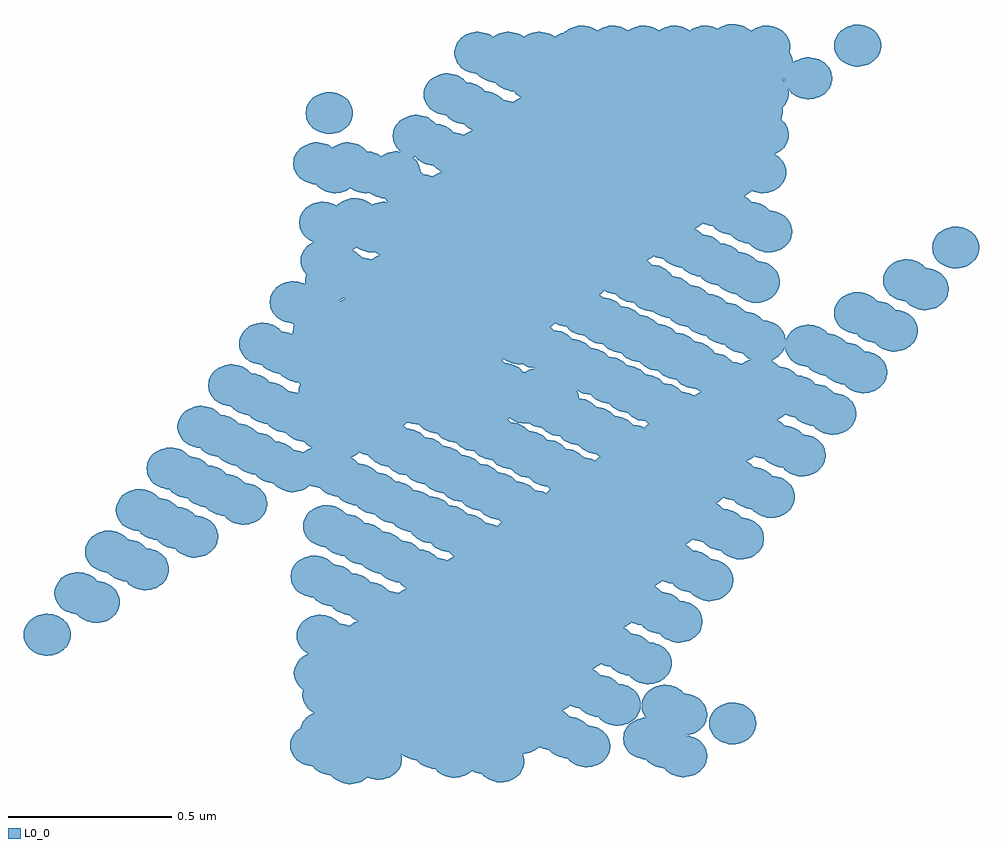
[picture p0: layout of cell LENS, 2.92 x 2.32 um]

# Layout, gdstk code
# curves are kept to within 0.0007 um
import gdstk
lib = gdstk.Library(unit=1e-6, precision=1e-09)
def P(c, l, *ps):  # polygons
    for p in ps: c.add(gdstk.Polygon(p, *l))
L0_0 = (0, 0)

oval = lib.new_cell('OVAL')
P(oval, L0_0, [(0.072,0),(0.072,0.007),(0.069,0.019),(0.066,0.026),(0.059,0.037),(0.049,0.047),(0.031,0.058),(0.017,0.062),(0.002,0.064),(-0.013,0.063),(-0.027,0.059),(-0.04,0.053),(-0.052,0.045),(-0.061,0.034),(-0.067,0.023),(-0.07,0.016),(-0.072,0.003),(-0.07,-0.016),(-0.061,-0.034),(-0.052,-0.045),(-0.04,-0.053),(-0.027,-0.059),(-0.006,-0.064),(0.017,-0.062),(0.031,-0.058),(0.049,-0.047),(0.059,-0.037),(0.066,-0.026),(0.069,-0.019),(0.072,-0.007)])

circle = lib.new_cell('CIRCLE')
P(circle, L0_0, [(0.072,0),(0.068,0.022),(0.058,0.042),(0.042,0.058),(0.022,0.068),(0,0.072),(-0.022,0.068),(-0.042,0.058),(-0.058,0.042),(-0.068,0.022),(-0.072,0),(-0.068,-0.022),(-0.058,-0.042),(-0.042,-0.058),(-0.022,-0.068),(0,-0.072),(0.022,-0.068),(0.042,-0.058),(0.058,-0.042),(0.068,-0.022)])

lens = lib.new_cell('LENS')
lens.add(gdstk.Reference(oval, (-1.51,-0.705)))
lens.add(gdstk.Reference(oval, (-1.416,-0.578)))
lens.add(gdstk.Reference(oval, (-1.322,-0.451)))
lens.add(gdstk.Reference(oval, (-1.228,-0.324)))
lens.add(gdstk.Reference(oval, (-1.134,-0.197)))
lens.add(gdstk.Reference(oval, (-1.04,-0.07)))
lens.add(gdstk.Reference(oval, (-0.946,0.057)))
lens.add(gdstk.Reference(oval, (-0.852,0.184)))
lens.add(gdstk.Reference(oval, (-0.758,0.311)))
lens.add(gdstk.Reference(oval, (-0.664,0.438)))
lens.add(gdstk.Reference(oval, (-0.57,0.565)))
lens.add(gdstk.Reference(oval, (-0.476,0.692)))
lens.add(gdstk.Reference(oval, (-0.382,0.819)))
lens.add(gdstk.Reference(oval, (-0.288,0.946)))
lens.add(gdstk.Reference(oval, (-0.194,1.073)))
lens.add(gdstk.Reference(oval, (-0.1,1.073)))
lens.add(gdstk.Reference(oval, (-0.006,1.073)))
lens.add(gdstk.Reference(oval, (0.088,1.073)))
lens.add(gdstk.Reference(oval, (0.182,1.073)))
lens.add(gdstk.Reference(oval, (0.276,1.073)))
lens.add(gdstk.Reference(oval, (0.37,1.073)))
lens.add(gdstk.Reference(oval, (0.464,1.073)))
lens.add(gdstk.Reference(oval, (0.558,1.073)))
lens.add(gdstk.Reference(oval, (0.652,1.073)))
lens.add(gdstk.Reference(oval, (-0.654,0.143)))
lens.add(gdstk.Reference(oval, (-0.56,0.27)))
lens.add(gdstk.Reference(oval, (-0.466,0.397)))
lens.add(gdstk.Reference(oval, (-0.372,0.524)))
lens.add(gdstk.Reference(oval, (-0.278,0.651)))
lens.add(gdstk.Reference(oval, (-0.184,0.778)))
lens.add(gdstk.Reference(oval, (-1.36,-0.605)))
lens.add(gdstk.Reference(oval, (-1.266,-0.478)))
lens.add(gdstk.Reference(oval, (-1.172,-0.351)))
lens.add(gdstk.Reference(oval, (-1.078,-0.224)))
lens.add(gdstk.Reference(oval, (-0.984,-0.097)))
lens.add(gdstk.Reference(oval, (-0.89,0.03)))
lens.add(gdstk.Reference(oval, (-0.796,0.157)))
lens.add(gdstk.Reference(oval, (-0.702,0.284)))
lens.add(gdstk.Reference(oval, (-0.608,0.411)))
lens.add(gdstk.Reference(oval, (-0.514,0.538)))
lens.add(gdstk.Reference(oval, (-0.42,0.665)))
lens.add(gdstk.Reference(oval, (-0.326,0.792)))
lens.add(gdstk.Reference(oval, (-0.232,0.919)))
lens.add(gdstk.Reference(oval, (-0.138,1.046)))
lens.add(gdstk.Reference(oval, (-0.044,1.046)))
lens.add(gdstk.Reference(oval, (0.05,1.046)))
lens.add(gdstk.Reference(oval, (0.144,1.046)))
lens.add(gdstk.Reference(oval, (0.238,1.046)))
lens.add(gdstk.Reference(oval, (0.332,1.046)))
lens.add(gdstk.Reference(oval, (0.426,1.046)))
lens.add(gdstk.Reference(oval, (0.52,1.046)))
lens.add(gdstk.Reference(oval, (0.614,1.046)))
lens.add(gdstk.Reference(oval, (-0.692,-0.011)))
lens.add(gdstk.Reference(oval, (-0.598,0.116)))
lens.add(gdstk.Reference(oval, (-0.504,0.243)))
lens.add(gdstk.Reference(oval, (-0.41,0.37)))
lens.add(gdstk.Reference(oval, (-0.316,0.497)))
lens.add(gdstk.Reference(oval, (-0.222,0.624)))
lens.add(gdstk.Reference(oval, (-0.128,0.751)))
lens.add(gdstk.Reference(oval, (-0.034,0.878)))
lens.add(gdstk.Reference(oval, (-1.21,-0.505)))
lens.add(gdstk.Reference(oval, (-1.116,-0.378)))
lens.add(gdstk.Reference(oval, (-1.022,-0.251)))
lens.add(gdstk.Reference(oval, (-0.928,-0.124)))
lens.add(gdstk.Reference(oval, (-0.834,0.003)))
lens.add(gdstk.Reference(oval, (-0.74,0.13)))
lens.add(gdstk.Reference(oval, (-0.646,0.257)))
lens.add(gdstk.Reference(oval, (-0.552,0.384)))
lens.add(gdstk.Reference(oval, (-0.458,0.511)))
lens.add(gdstk.Reference(oval, (-0.364,0.638)))
lens.add(gdstk.Reference(oval, (-0.27,0.765)))
lens.add(gdstk.Reference(oval, (-0.176,0.892)))
lens.add(gdstk.Reference(oval, (-0.082,1.019)))
lens.add(gdstk.Reference(oval, (0.012,1.019)))
lens.add(gdstk.Reference(oval, (0.106,1.019)))
lens.add(gdstk.Reference(oval, (0.2,1.019)))
lens.add(gdstk.Reference(oval, (0.294,1.019)))
lens.add(gdstk.Reference(oval, (0.388,1.019)))
lens.add(gdstk.Reference(oval, (0.482,1.019)))
lens.add(gdstk.Reference(oval, (0.576,1.019)))
lens.add(gdstk.Reference(oval, (0.67,1.019)))
lens.add(gdstk.Reference(oval, (-0.636,-0.038)))
lens.add(gdstk.Reference(oval, (-0.542,0.089)))
lens.add(gdstk.Reference(circle, (-0.448,0.216)))
lens.add(gdstk.Reference(circle, (-0.354,0.343)))
lens.add(gdstk.Reference(oval, (-0.26,0.47)))
lens.add(gdstk.Reference(oval, (-0.166,0.597)))
lens.add(gdstk.Reference(oval, (-0.072,0.724)))
lens.add(gdstk.Reference(oval, (0.022,0.851)))
lens.add(gdstk.Reference(oval, (0.116,0.978)))
lens.add(gdstk.Reference(oval, (-1.06,-0.405)))
lens.add(gdstk.Reference(oval, (-0.966,-0.278)))
lens.add(gdstk.Reference(oval, (-0.872,-0.151)))
lens.add(gdstk.Reference(oval, (-0.778,-0.024)))
lens.add(gdstk.Reference(oval, (-0.684,0.103)))
lens.add(gdstk.Reference(oval, (-0.59,0.23)))
lens.add(gdstk.Reference(oval, (-0.496,0.357)))
lens.add(gdstk.Reference(oval, (-0.402,0.484)))
lens.add(gdstk.Reference(oval, (-0.308,0.611)))
lens.add(gdstk.Reference(oval, (-0.214,0.738)))
lens.add(gdstk.Reference(oval, (-0.12,0.865)))
lens.add(gdstk.Reference(oval, (-0.026,0.992)))
lens.add(gdstk.Reference(oval, (0.068,0.992)))
lens.add(gdstk.Reference(oval, (0.162,0.992)))
lens.add(gdstk.Reference(oval, (0.256,0.992)))
lens.add(gdstk.Reference(oval, (0.35,0.992)))
lens.add(gdstk.Reference(oval, (0.444,0.992)))
lens.add(gdstk.Reference(oval, (0.538,0.992)))
lens.add(gdstk.Reference(oval, (0.632,0.992)))
lens.add(gdstk.Reference(oval, (-0.674,-0.192)))
lens.add(gdstk.Reference(oval, (-0.58,-0.065)))
lens.add(gdstk.Reference(circle, (-0.486,0.062)))
lens.add(gdstk.Reference(circle, (-0.392,0.189)))
lens.add(gdstk.Reference(circle, (-0.298,0.316)))
lens.add(gdstk.Reference(circle, (-0.204,0.443)))
lens.add(gdstk.Reference(oval, (-0.11,0.57)))
lens.add(gdstk.Reference(oval, (-0.016,0.697)))
lens.add(gdstk.Reference(oval, (0.078,0.824)))
lens.add(gdstk.Reference(oval, (0.172,0.951)))
lens.add(gdstk.Reference(oval, (0.266,1.078)))
lens.add(gdstk.Reference(oval, (-0.91,-0.305)))
lens.add(gdstk.Reference(oval, (-0.816,-0.178)))
lens.add(gdstk.Reference(oval, (-0.722,-0.051)))
lens.add(gdstk.Reference(oval, (-0.628,0.076)))
lens.add(gdstk.Reference(oval, (-0.534,0.203)))
lens.add(gdstk.Reference(oval, (-0.44,0.33)))
lens.add(gdstk.Reference(oval, (-0.346,0.457)))
lens.add(gdstk.Reference(oval, (-0.252,0.584)))
lens.add(gdstk.Reference(oval, (-0.158,0.711)))
lens.add(gdstk.Reference(oval, (-0.064,0.838)))
lens.add(gdstk.Reference(oval, (0.03,0.965)))
lens.add(gdstk.Reference(oval, (0.124,1.092)))
lens.add(gdstk.Reference(oval, (0.218,1.092)))
lens.add(gdstk.Reference(oval, (0.312,1.092)))
lens.add(gdstk.Reference(oval, (0.406,1.092)))
lens.add(gdstk.Reference(oval, (0.5,1.092)))
lens.add(gdstk.Reference(oval, (0.594,1.092)))
lens.add(gdstk.Reference(oval, (0.688,1.092)))
lens.add(gdstk.Reference(oval, (-0.618,-0.219)))
lens.add(gdstk.Reference(oval, (-0.524,-0.092)))
lens.add(gdstk.Reference(circle, (-0.43,0.035)))
lens.add(gdstk.Reference(circle, (-0.336,0.162)))
lens.add(gdstk.Reference(circle, (-0.242,0.289)))
lens.add(gdstk.Reference(circle, (-0.148,0.416)))
lens.add(gdstk.Reference(oval, (-0.054,0.543)))
lens.add(gdstk.Reference(oval, (0.04,0.67)))
lens.add(gdstk.Reference(oval, (0.134,0.797)))
lens.add(gdstk.Reference(oval, (0.228,0.924)))
lens.add(gdstk.Reference(oval, (0.322,1.051)))
lens.add(gdstk.Reference(oval, (0.322,-1.022)))
lens.add(gdstk.Reference(oval, (-0.76,-0.205)))
lens.add(gdstk.Reference(oval, (-0.666,-0.078)))
lens.add(gdstk.Reference(oval, (-0.572,0.049)))
lens.add(gdstk.Reference(oval, (-0.478,0.176)))
lens.add(gdstk.Reference(circle, (-0.384,0.303)))
lens.add(gdstk.Reference(oval, (-0.29,0.43)))
lens.add(gdstk.Reference(oval, (-0.196,0.557)))
lens.add(gdstk.Reference(oval, (-0.102,0.684)))
lens.add(gdstk.Reference(oval, (-0.008,0.811)))
lens.add(gdstk.Reference(oval, (0.086,0.938)))
lens.add(gdstk.Reference(oval, (0.18,1.065)))
lens.add(gdstk.Reference(oval, (0.274,1.065)))
lens.add(gdstk.Reference(oval, (0.368,1.065)))
lens.add(gdstk.Reference(oval, (0.462,1.065)))
lens.add(gdstk.Reference(oval, (0.556,1.065)))
lens.add(gdstk.Reference(oval, (0.65,1.065)))
lens.add(gdstk.Reference(oval, (-0.656,-0.373)))
lens.add(gdstk.Reference(oval, (-0.562,-0.246)))
lens.add(gdstk.Reference(circle, (-0.468,-0.119)))
lens.add(gdstk.Reference(circle, (-0.374,0.008)))
lens.add(gdstk.Reference(circle, (-0.28,0.135)))
lens.add(gdstk.Reference(circle, (-0.186,0.262)))
lens.add(gdstk.Reference(circle, (-0.092,0.389)))
lens.add(gdstk.Reference(oval, (0.002,0.516)))
lens.add(gdstk.Reference(oval, (0.096,0.643)))
lens.add(gdstk.Reference(oval, (0.19,0.77)))
lens.add(gdstk.Reference(oval, (0.284,0.897)))
lens.add(gdstk.Reference(oval, (0.378,1.024)))
lens.add(gdstk.Reference(oval, (0.378,-1.049)))
lens.add(gdstk.Reference(oval, (0.378,-0.922)))
lens.add(gdstk.Reference(oval, (-0.61,-0.105)))
lens.add(gdstk.Reference(oval, (-0.516,0.022)))
lens.add(gdstk.Reference(circle, (-0.422,0.149)))
lens.add(gdstk.Reference(circle, (-0.328,0.276)))
lens.add(gdstk.Reference(circle, (-0.234,0.403)))
lens.add(gdstk.Reference(oval, (-0.14,0.53)))
lens.add(gdstk.Reference(oval, (-0.046,0.657)))
lens.add(gdstk.Reference(oval, (0.048,0.784)))
lens.add(gdstk.Reference(oval, (0.142,0.911)))
lens.add(gdstk.Reference(oval, (0.236,1.038)))
lens.add(gdstk.Reference(oval, (0.33,1.038)))
lens.add(gdstk.Reference(oval, (0.424,1.038)))
lens.add(gdstk.Reference(oval, (0.518,1.038)))
lens.add(gdstk.Reference(oval, (0.612,1.038)))
lens.add(gdstk.Reference(oval, (-0.694,-0.527)))
lens.add(gdstk.Reference(oval, (-0.6,-0.4)))
lens.add(gdstk.Reference(oval, (-0.506,-0.273)))
lens.add(gdstk.Reference(circle, (-0.412,-0.146)))
lens.add(gdstk.Reference(circle, (-0.318,-0.019)))
lens.add(gdstk.Reference(circle, (-0.224,0.108)))
lens.add(gdstk.Reference(circle, (-0.13,0.235)))
lens.add(gdstk.Reference(circle, (-0.036,0.362)))
lens.add(gdstk.Reference(circle, (0.058,0.489)))
lens.add(gdstk.Reference(oval, (0.152,0.616)))
lens.add(gdstk.Reference(oval, (0.246,0.743)))
lens.add(gdstk.Reference(oval, (0.34,0.87)))
lens.add(gdstk.Reference(oval, (0.434,0.997)))
lens.add(gdstk.Reference(oval, (0.434,-1.076)))
lens.add(gdstk.Reference(oval, (0.434,-0.949)))
lens.add(gdstk.Reference(oval, (-0.684,-0.822)))
lens.add(gdstk.Reference(circle, (-0.46,-0.005)))
lens.add(gdstk.Reference(circle, (-0.366,0.122)))
lens.add(gdstk.Reference(circle, (-0.272,0.249)))
lens.add(gdstk.Reference(circle, (-0.178,0.376)))
lens.add(gdstk.Reference(oval, (-0.084,0.503)))
lens.add(gdstk.Reference(oval, (0.01,0.63)))
lens.add(gdstk.Reference(oval, (0.104,0.757)))
lens.add(gdstk.Reference(oval, (0.198,0.884)))
lens.add(gdstk.Reference(oval, (0.292,1.011)))
lens.add(gdstk.Reference(oval, (0.386,1.011)))
lens.add(gdstk.Reference(oval, (0.48,1.011)))
lens.add(gdstk.Reference(oval, (0.574,1.011)))
lens.add(gdstk.Reference(oval, (0.668,1.011)))
lens.add(gdstk.Reference(oval, (-0.638,-0.554)))
lens.add(gdstk.Reference(oval, (-0.544,-0.427)))
lens.add(gdstk.Reference(oval, (-0.45,-0.3)))
lens.add(gdstk.Reference(circle, (-0.356,-0.173)))
lens.add(gdstk.Reference(circle, (-0.262,-0.046)))
lens.add(gdstk.Reference(circle, (-0.168,0.081)))
lens.add(gdstk.Reference(circle, (-0.074,0.208)))
lens.add(gdstk.Reference(circle, (0.02,0.335)))
lens.add(gdstk.Reference(circle, (0.114,0.462)))
lens.add(gdstk.Reference(oval, (0.208,0.589)))
lens.add(gdstk.Reference(oval, (0.302,0.716)))
lens.add(gdstk.Reference(oval, (0.396,0.843)))
lens.add(gdstk.Reference(oval, (0.49,0.97)))
lens.add(gdstk.Reference(oval, (0.584,1.097)))
lens.add(gdstk.Reference(oval, (0.584,-0.976)))
lens.add(gdstk.Reference(oval, (-0.628,-0.849)))
lens.add(gdstk.Reference(oval, (-0.534,-0.722)))
lens.add(gdstk.Reference(circle, (-0.31,0.095)))
lens.add(gdstk.Reference(circle, (-0.216,0.222)))
lens.add(gdstk.Reference(circle, (-0.122,0.349)))
lens.add(gdstk.Reference(circle, (-0.028,0.476)))
lens.add(gdstk.Reference(oval, (0.066,0.603)))
lens.add(gdstk.Reference(oval, (0.16,0.73)))
lens.add(gdstk.Reference(oval, (0.254,0.857)))
lens.add(gdstk.Reference(oval, (0.348,0.984)))
lens.add(gdstk.Reference(oval, (0.442,0.984)))
lens.add(gdstk.Reference(oval, (0.536,0.984)))
lens.add(gdstk.Reference(oval, (0.63,0.984)))
lens.add(gdstk.Reference(oval, (-0.676,-0.708)))
lens.add(gdstk.Reference(oval, (-0.582,-0.581)))
lens.add(gdstk.Reference(oval, (-0.488,-0.454)))
lens.add(gdstk.Reference(oval, (-0.394,-0.327)))
lens.add(gdstk.Reference(circle, (-0.3,-0.2)))
lens.add(gdstk.Reference(circle, (-0.206,-0.073)))
lens.add(gdstk.Reference(circle, (-0.112,0.054)))
lens.add(gdstk.Reference(circle, (-0.018,0.181)))
lens.add(gdstk.Reference(circle, (0.076,0.308)))
lens.add(gdstk.Reference(circle, (0.17,0.435)))
lens.add(gdstk.Reference(oval, (0.264,0.562)))
lens.add(gdstk.Reference(oval, (0.358,0.689)))
lens.add(gdstk.Reference(oval, (0.452,0.816)))
lens.add(gdstk.Reference(oval, (0.546,0.943)))
lens.add(gdstk.Reference(oval, (0.64,1.07)))
lens.add(gdstk.Reference(oval, (-0.666,-1.003)))
lens.add(gdstk.Reference(oval, (-0.572,-0.876)))
lens.add(gdstk.Reference(oval, (-0.478,-0.749)))
lens.add(gdstk.Reference(oval, (-0.384,-0.622)))
lens.add(gdstk.Reference(circle, (-0.16,0.195)))
lens.add(gdstk.Reference(circle, (-0.066,0.322)))
lens.add(gdstk.Reference(circle, (0.028,0.449)))
lens.add(gdstk.Reference(oval, (0.122,0.576)))
lens.add(gdstk.Reference(oval, (0.216,0.703)))
lens.add(gdstk.Reference(oval, (0.31,0.83)))
lens.add(gdstk.Reference(oval, (0.404,0.957)))
lens.add(gdstk.Reference(oval, (0.498,1.084)))
lens.add(gdstk.Reference(oval, (0.592,1.084)))
lens.add(gdstk.Reference(oval, (0.686,1.084)))
lens.add(gdstk.Reference(oval, (-0.62,-0.735)))
lens.add(gdstk.Reference(oval, (-0.526,-0.608)))
lens.add(gdstk.Reference(oval, (-0.432,-0.481)))
lens.add(gdstk.Reference(circle, (-0.338,-0.354)))
lens.add(gdstk.Reference(circle, (-0.244,-0.227)))
lens.add(gdstk.Reference(circle, (-0.15,-0.1)))
lens.add(gdstk.Reference(circle, (-0.056,0.027)))
lens.add(gdstk.Reference(circle, (0.038,0.154)))
lens.add(gdstk.Reference(circle, (0.132,0.281)))
lens.add(gdstk.Reference(circle, (0.226,0.408)))
lens.add(gdstk.Reference(oval, (0.32,0.535)))
lens.add(gdstk.Reference(oval, (0.414,0.662)))
lens.add(gdstk.Reference(oval, (0.508,0.789)))
lens.add(gdstk.Reference(oval, (0.602,0.916)))
lens.add(gdstk.Reference(oval, (0.696,1.043)))
lens.add(gdstk.Reference(oval, (-0.61,-1.03)))
lens.add(gdstk.Reference(oval, (-0.516,-0.903)))
lens.add(gdstk.Reference(oval, (-0.422,-0.776)))
lens.add(gdstk.Reference(oval, (-0.328,-0.649)))
lens.add(gdstk.Reference(oval, (-0.234,-0.522)))
lens.add(gdstk.Reference(circle, (-0.01,0.295)))
lens.add(gdstk.Reference(circle, (0.084,0.422)))
lens.add(gdstk.Reference(oval, (0.178,0.549)))
lens.add(gdstk.Reference(oval, (0.272,0.676)))
lens.add(gdstk.Reference(oval, (0.366,0.803)))
lens.add(gdstk.Reference(oval, (0.46,0.93)))
lens.add(gdstk.Reference(oval, (0.554,1.057)))
lens.add(gdstk.Reference(oval, (0.648,1.057)))
lens.add(gdstk.Reference(oval, (-0.658,-0.889)))
lens.add(gdstk.Reference(oval, (-0.564,-0.762)))
lens.add(gdstk.Reference(oval, (-0.47,-0.635)))
lens.add(gdstk.Reference(oval, (-0.376,-0.508)))
lens.add(gdstk.Reference(circle, (-0.282,-0.381)))
lens.add(gdstk.Reference(circle, (-0.188,-0.254)))
lens.add(gdstk.Reference(circle, (-0.094,-0.127)))
lens.add(gdstk.Reference(circle, (0,0)))
lens.add(gdstk.Reference(circle, (0.094,0.127)))
lens.add(gdstk.Reference(circle, (0.188,0.254)))
lens.add(gdstk.Reference(circle, (0.282,0.381)))
lens.add(gdstk.Reference(oval, (0.376,0.508)))
lens.add(gdstk.Reference(oval, (0.47,0.635)))
lens.add(gdstk.Reference(oval, (0.564,0.762)))
lens.add(gdstk.Reference(oval, (0.658,0.889)))
lens.add(gdstk.Reference(oval, (-0.648,0.889)))
lens.add(gdstk.Reference(oval, (-0.554,-1.057)))
lens.add(gdstk.Reference(oval, (-0.46,-0.93)))
lens.add(gdstk.Reference(oval, (-0.366,-0.803)))
lens.add(gdstk.Reference(oval, (-0.272,-0.676)))
lens.add(gdstk.Reference(oval, (-0.178,-0.549)))
lens.add(gdstk.Reference(circle, (-0.084,-0.422)))
lens.add(gdstk.Reference(circle, (0.14,0.395)))
lens.add(gdstk.Reference(oval, (0.234,0.522)))
lens.add(gdstk.Reference(oval, (0.328,0.649)))
lens.add(gdstk.Reference(oval, (0.422,0.776)))
lens.add(gdstk.Reference(oval, (0.516,0.903)))
lens.add(gdstk.Reference(oval, (0.61,1.03)))
lens.add(gdstk.Reference(oval, (-0.696,-1.043)))
lens.add(gdstk.Reference(oval, (-0.602,-0.916)))
lens.add(gdstk.Reference(oval, (-0.508,-0.789)))
lens.add(gdstk.Reference(oval, (-0.414,-0.662)))
lens.add(gdstk.Reference(oval, (-0.32,-0.535)))
lens.add(gdstk.Reference(circle, (-0.226,-0.408)))
lens.add(gdstk.Reference(circle, (-0.132,-0.281)))
lens.add(gdstk.Reference(circle, (-0.038,-0.154)))
lens.add(gdstk.Reference(circle, (0.056,-0.027)))
lens.add(gdstk.Reference(circle, (0.15,0.1)))
lens.add(gdstk.Reference(circle, (0.244,0.227)))
lens.add(gdstk.Reference(circle, (0.338,0.354)))
lens.add(gdstk.Reference(oval, (0.432,0.481)))
lens.add(gdstk.Reference(oval, (0.526,0.608)))
lens.add(gdstk.Reference(oval, (0.62,0.735)))
lens.add(gdstk.Reference(oval, (-0.686,0.735)))
lens.add(gdstk.Reference(oval, (-0.592,0.735)))
lens.add(gdstk.Reference(oval, (-0.498,-1.084)))
lens.add(gdstk.Reference(oval, (-0.404,-0.957)))
lens.add(gdstk.Reference(oval, (-0.31,-0.83)))
lens.add(gdstk.Reference(oval, (-0.216,-0.703)))
lens.add(gdstk.Reference(oval, (-0.122,-0.576)))
lens.add(gdstk.Reference(circle, (-0.028,-0.449)))
lens.add(gdstk.Reference(circle, (0.066,-0.322)))
lens.add(gdstk.Reference(oval, (0.29,0.495)))
lens.add(gdstk.Reference(oval, (0.384,0.622)))
lens.add(gdstk.Reference(oval, (0.478,0.749)))
lens.add(gdstk.Reference(oval, (0.572,0.876)))
lens.add(gdstk.Reference(oval, (0.666,1.003)))
lens.add(gdstk.Reference(oval, (-0.64,-1.07)))
lens.add(gdstk.Reference(oval, (-0.546,-0.943)))
lens.add(gdstk.Reference(oval, (-0.452,-0.816)))
lens.add(gdstk.Reference(oval, (-0.358,-0.689)))
lens.add(gdstk.Reference(oval, (-0.264,-0.562)))
lens.add(gdstk.Reference(circle, (-0.17,-0.435)))
lens.add(gdstk.Reference(circle, (-0.076,-0.308)))
lens.add(gdstk.Reference(circle, (0.018,-0.181)))
lens.add(gdstk.Reference(circle, (0.112,-0.054)))
lens.add(gdstk.Reference(circle, (0.206,0.073)))
lens.add(gdstk.Reference(circle, (0.3,0.2)))
lens.add(gdstk.Reference(oval, (0.394,0.327)))
lens.add(gdstk.Reference(oval, (0.488,0.454)))
lens.add(gdstk.Reference(oval, (0.582,0.581)))
lens.add(gdstk.Reference(oval, (0.676,0.708)))
lens.add(gdstk.Reference(oval, (-0.63,0.708)))
lens.add(gdstk.Reference(oval, (-0.536,0.708)))
lens.add(gdstk.Reference(oval, (-0.442,0.708)))
lens.add(gdstk.Reference(oval, (-0.348,-0.984)))
lens.add(gdstk.Reference(oval, (-0.254,-0.857)))
lens.add(gdstk.Reference(oval, (-0.16,-0.73)))
lens.add(gdstk.Reference(oval, (-0.066,-0.603)))
lens.add(gdstk.Reference(circle, (0.028,-0.476)))
lens.add(gdstk.Reference(circle, (0.122,-0.349)))
lens.add(gdstk.Reference(circle, (0.216,-0.222)))
lens.add(gdstk.Reference(oval, (0.44,0.595)))
lens.add(gdstk.Reference(oval, (0.534,0.722)))
lens.add(gdstk.Reference(oval, (0.628,0.849)))
lens.add(gdstk.Reference(oval, (0.628,0.976)))
lens.add(gdstk.Reference(oval, (-0.584,-1.097)))
lens.add(gdstk.Reference(oval, (-0.49,-0.97)))
lens.add(gdstk.Reference(oval, (-0.396,-0.843)))
lens.add(gdstk.Reference(oval, (-0.302,-0.716)))
lens.add(gdstk.Reference(oval, (-0.208,-0.589)))
lens.add(gdstk.Reference(circle, (-0.114,-0.462)))
lens.add(gdstk.Reference(circle, (-0.02,-0.335)))
lens.add(gdstk.Reference(circle, (0.074,-0.208)))
lens.add(gdstk.Reference(circle, (0.168,-0.081)))
lens.add(gdstk.Reference(circle, (0.262,0.046)))
lens.add(gdstk.Reference(circle, (0.356,0.173)))
lens.add(gdstk.Reference(oval, (0.45,0.3)))
lens.add(gdstk.Reference(oval, (0.544,0.427)))
lens.add(gdstk.Reference(oval, (0.638,0.554)))
lens.add(gdstk.Reference(oval, (-0.668,0.554)))
lens.add(gdstk.Reference(oval, (-0.574,0.554)))
lens.add(gdstk.Reference(oval, (-0.48,0.554)))
lens.add(gdstk.Reference(oval, (-0.386,0.554)))
lens.add(gdstk.Reference(oval, (-0.292,-1.011)))
lens.add(gdstk.Reference(oval, (-0.198,-0.884)))
lens.add(gdstk.Reference(oval, (-0.104,-0.757)))
lens.add(gdstk.Reference(oval, (-0.01,-0.63)))
lens.add(gdstk.Reference(oval, (0.084,-0.503)))
lens.add(gdstk.Reference(circle, (0.178,-0.376)))
lens.add(gdstk.Reference(circle, (0.272,-0.249)))
lens.add(gdstk.Reference(circle, (0.366,-0.122)))
lens.add(gdstk.Reference(oval, (0.59,0.695)))
lens.add(gdstk.Reference(oval, (0.684,0.822)))
lens.add(gdstk.Reference(oval, (0.684,0.949)))
lens.add(gdstk.Reference(oval, (0.684,1.076)))
lens.add(gdstk.Reference(oval, (-0.434,-0.997)))
lens.add(gdstk.Reference(oval, (-0.34,-0.87)))
lens.add(gdstk.Reference(oval, (-0.246,-0.743)))
lens.add(gdstk.Reference(oval, (-0.152,-0.616)))
lens.add(gdstk.Reference(circle, (-0.058,-0.489)))
lens.add(gdstk.Reference(circle, (0.036,-0.362)))
lens.add(gdstk.Reference(circle, (0.13,-0.235)))
lens.add(gdstk.Reference(circle, (0.224,-0.108)))
lens.add(gdstk.Reference(circle, (0.318,0.019)))
lens.add(gdstk.Reference(circle, (0.412,0.146)))
lens.add(gdstk.Reference(oval, (0.506,0.273)))
lens.add(gdstk.Reference(oval, (0.6,0.4)))
lens.add(gdstk.Reference(oval, (0.694,0.527)))
lens.add(gdstk.Reference(oval, (-0.612,0.527)))
lens.add(gdstk.Reference(oval, (-0.518,0.527)))
lens.add(gdstk.Reference(oval, (-0.424,0.527)))
lens.add(gdstk.Reference(oval, (-0.33,0.527)))
lens.add(gdstk.Reference(oval, (-0.236,-1.038)))
lens.add(gdstk.Reference(oval, (-0.142,-0.911)))
lens.add(gdstk.Reference(oval, (-0.048,-0.784)))
lens.add(gdstk.Reference(oval, (0.046,-0.657)))
lens.add(gdstk.Reference(oval, (0.14,-0.53)))
lens.add(gdstk.Reference(circle, (0.234,-0.403)))
lens.add(gdstk.Reference(circle, (0.328,-0.276)))
lens.add(gdstk.Reference(circle, (0.422,-0.149)))
lens.add(gdstk.Reference(oval, (0.516,-0.022)))
lens.add(gdstk.Reference(oval, (0.516,0.795)))
lens.add(gdstk.Reference(oval, (0.516,0.922)))
lens.add(gdstk.Reference(oval, (0.516,1.049)))
lens.add(gdstk.Reference(oval, (-0.378,-1.024)))
lens.add(gdstk.Reference(oval, (-0.284,-0.897)))
lens.add(gdstk.Reference(oval, (-0.19,-0.77)))
lens.add(gdstk.Reference(oval, (-0.096,-0.643)))
lens.add(gdstk.Reference(oval, (-0.002,-0.516)))
lens.add(gdstk.Reference(circle, (0.092,-0.389)))
lens.add(gdstk.Reference(circle, (0.186,-0.262)))
lens.add(gdstk.Reference(circle, (0.28,-0.135)))
lens.add(gdstk.Reference(circle, (0.374,-0.008)))
lens.add(gdstk.Reference(circle, (0.468,0.119)))
lens.add(gdstk.Reference(oval, (0.562,0.246)))
lens.add(gdstk.Reference(oval, (0.656,0.373)))
lens.add(gdstk.Reference(oval, (-0.65,0.373)))
lens.add(gdstk.Reference(oval, (-0.556,0.373)))
lens.add(gdstk.Reference(oval, (-0.462,0.373)))
lens.add(gdstk.Reference(oval, (-0.368,0.373)))
lens.add(gdstk.Reference(circle, (-0.274,0.373)))
lens.add(gdstk.Reference(oval, (-0.18,-1.065)))
lens.add(gdstk.Reference(oval, (-0.086,-0.938)))
lens.add(gdstk.Reference(oval, (0.008,-0.811)))
lens.add(gdstk.Reference(oval, (0.102,-0.684)))
lens.add(gdstk.Reference(oval, (0.196,-0.557)))
lens.add(gdstk.Reference(oval, (0.29,-0.43)))
lens.add(gdstk.Reference(circle, (0.384,-0.303)))
lens.add(gdstk.Reference(oval, (0.478,-0.176)))
lens.add(gdstk.Reference(oval, (0.572,-0.049)))
lens.add(gdstk.Reference(oval, (0.666,0.078)))
lens.add(gdstk.Reference(oval, (0.666,0.895)))
lens.add(gdstk.Reference(oval, (0.666,1.022)))
lens.add(gdstk.Reference(oval, (-0.322,-1.051)))
lens.add(gdstk.Reference(oval, (-0.228,-0.924)))
lens.add(gdstk.Reference(oval, (-0.134,-0.797)))
lens.add(gdstk.Reference(oval, (-0.04,-0.67)))
lens.add(gdstk.Reference(oval, (0.054,-0.543)))
lens.add(gdstk.Reference(circle, (0.148,-0.416)))
lens.add(gdstk.Reference(circle, (0.242,-0.289)))
lens.add(gdstk.Reference(circle, (0.336,-0.162)))
lens.add(gdstk.Reference(circle, (0.43,-0.035)))
lens.add(gdstk.Reference(oval, (0.524,0.092)))
lens.add(gdstk.Reference(oval, (0.618,0.219)))
lens.add(gdstk.Reference(oval, (-0.688,0.219)))
lens.add(gdstk.Reference(oval, (-0.594,0.219)))
lens.add(gdstk.Reference(oval, (-0.5,0.219)))
lens.add(gdstk.Reference(circle, (-0.406,0.219)))
lens.add(gdstk.Reference(circle, (-0.312,0.219)))
lens.add(gdstk.Reference(circle, (-0.218,0.219)))
lens.add(gdstk.Reference(oval, (-0.124,-1.092)))
lens.add(gdstk.Reference(oval, (-0.03,-0.965)))
lens.add(gdstk.Reference(oval, (0.064,-0.838)))
lens.add(gdstk.Reference(oval, (0.158,-0.711)))
lens.add(gdstk.Reference(oval, (0.252,-0.584)))
lens.add(gdstk.Reference(oval, (0.346,-0.457)))
lens.add(gdstk.Reference(oval, (0.44,-0.33)))
lens.add(gdstk.Reference(oval, (0.534,-0.203)))
lens.add(gdstk.Reference(oval, (0.628,-0.076)))
lens.add(gdstk.Reference(oval, (0.722,0.051)))
lens.add(gdstk.Reference(oval, (0.816,0.178)))
lens.add(gdstk.Reference(oval, (0.816,0.995)))
lens.add(gdstk.Reference(oval, (-0.266,-1.078)))
lens.add(gdstk.Reference(oval, (-0.172,-0.951)))
lens.add(gdstk.Reference(oval, (-0.078,-0.824)))
lens.add(gdstk.Reference(oval, (0.016,-0.697)))
lens.add(gdstk.Reference(oval, (0.11,-0.57)))
lens.add(gdstk.Reference(circle, (0.204,-0.443)))
lens.add(gdstk.Reference(circle, (0.298,-0.316)))
lens.add(gdstk.Reference(circle, (0.392,-0.189)))
lens.add(gdstk.Reference(circle, (0.486,-0.062)))
lens.add(gdstk.Reference(oval, (0.58,0.065)))
lens.add(gdstk.Reference(oval, (0.674,0.192)))
lens.add(gdstk.Reference(oval, (-0.632,0.192)))
lens.add(gdstk.Reference(oval, (-0.538,0.192)))
lens.add(gdstk.Reference(circle, (-0.444,0.192)))
lens.add(gdstk.Reference(circle, (-0.35,0.192)))
lens.add(gdstk.Reference(circle, (-0.256,0.192)))
lens.add(gdstk.Reference(circle, (-0.162,0.192)))
lens.add(gdstk.Reference(circle, (-0.068,0.192)))
lens.add(gdstk.Reference(oval, (0.026,-0.992)))
lens.add(gdstk.Reference(oval, (0.12,-0.865)))
lens.add(gdstk.Reference(oval, (0.214,-0.738)))
lens.add(gdstk.Reference(oval, (0.308,-0.611)))
lens.add(gdstk.Reference(oval, (0.402,-0.484)))
lens.add(gdstk.Reference(oval, (0.496,-0.357)))
lens.add(gdstk.Reference(oval, (0.59,-0.23)))
lens.add(gdstk.Reference(oval, (0.684,-0.103)))
lens.add(gdstk.Reference(oval, (0.778,0.024)))
lens.add(gdstk.Reference(oval, (0.872,0.151)))
lens.add(gdstk.Reference(oval, (0.966,0.278)))
lens.add(gdstk.Reference(oval, (0.966,1.095)))
lens.add(gdstk.Reference(oval, (-0.116,-0.978)))
lens.add(gdstk.Reference(oval, (-0.022,-0.851)))
lens.add(gdstk.Reference(oval, (0.072,-0.724)))
lens.add(gdstk.Reference(oval, (0.166,-0.597)))
lens.add(gdstk.Reference(oval, (0.26,-0.47)))
lens.add(gdstk.Reference(circle, (0.354,-0.343)))
lens.add(gdstk.Reference(circle, (0.448,-0.216)))
lens.add(gdstk.Reference(oval, (0.542,-0.089)))
lens.add(gdstk.Reference(oval, (0.636,0.038)))
lens.add(gdstk.Reference(oval, (-0.67,0.038)))
lens.add(gdstk.Reference(oval, (-0.576,0.038)))
lens.add(gdstk.Reference(circle, (-0.482,0.038)))
lens.add(gdstk.Reference(circle, (-0.388,0.038)))
lens.add(gdstk.Reference(circle, (-0.294,0.038)))
lens.add(gdstk.Reference(circle, (-0.2,0.038)))
lens.add(gdstk.Reference(circle, (-0.106,0.038)))
lens.add(gdstk.Reference(circle, (-0.012,0.038)))
lens.add(gdstk.Reference(oval, (0.082,-1.019)))
lens.add(gdstk.Reference(oval, (0.176,-0.892)))
lens.add(gdstk.Reference(oval, (0.27,-0.765)))
lens.add(gdstk.Reference(oval, (0.364,-0.638)))
lens.add(gdstk.Reference(oval, (0.458,-0.511)))
lens.add(gdstk.Reference(oval, (0.552,-0.384)))
lens.add(gdstk.Reference(oval, (0.646,-0.257)))
lens.add(gdstk.Reference(oval, (0.74,-0.13)))
lens.add(gdstk.Reference(oval, (0.834,-0.003)))
lens.add(gdstk.Reference(oval, (0.928,0.124)))
lens.add(gdstk.Reference(oval, (1.022,0.251)))
lens.add(gdstk.Reference(oval, (1.116,0.378)))
lens.add(gdstk.Reference(oval, (-0.06,-1.005)))
lens.add(gdstk.Reference(oval, (0.034,-0.878)))
lens.add(gdstk.Reference(oval, (0.128,-0.751)))
lens.add(gdstk.Reference(oval, (0.222,-0.624)))
lens.add(gdstk.Reference(oval, (0.316,-0.497)))
lens.add(gdstk.Reference(oval, (0.41,-0.37)))
lens.add(gdstk.Reference(oval, (0.504,-0.243)))
lens.add(gdstk.Reference(oval, (0.598,-0.116)))
lens.add(gdstk.Reference(oval, (0.692,0.011)))
lens.add(gdstk.Reference(oval, (-0.614,0.011)))
lens.add(gdstk.Reference(oval, (-0.52,0.011)))
lens.add(gdstk.Reference(circle, (-0.426,0.011)))
lens.add(gdstk.Reference(circle, (-0.332,0.011)))
lens.add(gdstk.Reference(circle, (-0.238,0.011)))
lens.add(gdstk.Reference(circle, (-0.144,0.011)))
lens.add(gdstk.Reference(circle, (-0.05,0.011)))
lens.add(gdstk.Reference(circle, (0.044,0.011)))
lens.add(gdstk.Reference(oval, (0.138,-1.046)))
lens.add(gdstk.Reference(oval, (0.232,-0.919)))
lens.add(gdstk.Reference(oval, (0.326,-0.792)))
lens.add(gdstk.Reference(oval, (0.42,-0.665)))
lens.add(gdstk.Reference(oval, (0.514,-0.538)))
lens.add(gdstk.Reference(oval, (0.608,-0.411)))
lens.add(gdstk.Reference(oval, (0.702,-0.284)))
lens.add(gdstk.Reference(oval, (0.796,-0.157)))
lens.add(gdstk.Reference(oval, (0.89,-0.03)))
lens.add(gdstk.Reference(oval, (0.984,0.097)))
lens.add(gdstk.Reference(oval, (1.078,0.224)))
lens.add(gdstk.Reference(oval, (1.172,0.351)))
lens.add(gdstk.Reference(oval, (1.266,0.478)))

lib.write_gds('LENS.gds')
